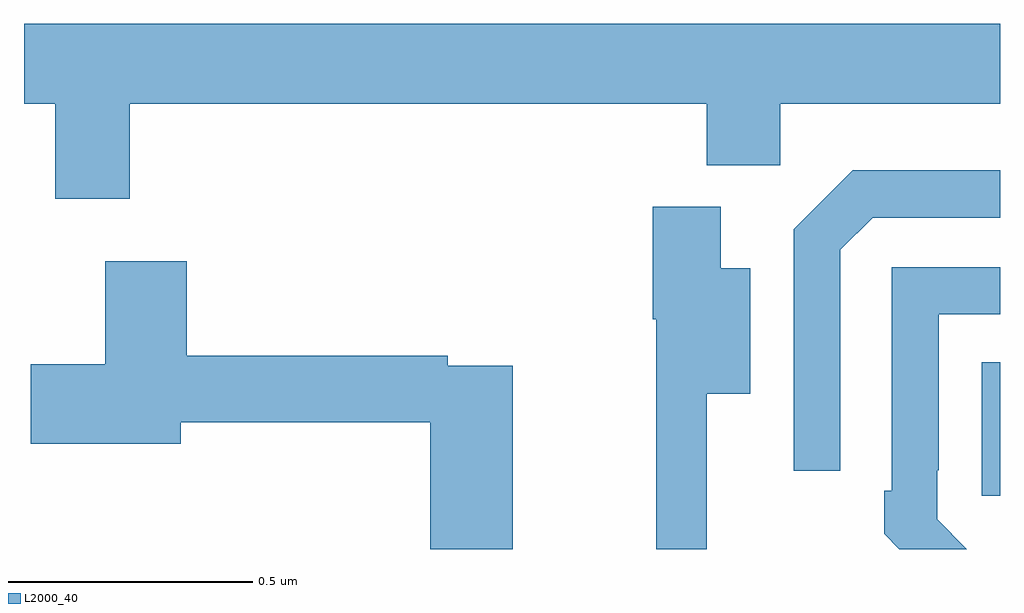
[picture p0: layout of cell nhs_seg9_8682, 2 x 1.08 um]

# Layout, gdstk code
import gdstk
lib = gdstk.Library(unit=1e-6, precision=1e-09)
def R(c, l, rs):  # rectangles x0, y0, x1, y1
    for r in rs: c.add(gdstk.rectangle(r[:2], r[2:], *l))
def P(c, l, *ps):  # polygons
    for p in ps: c.add(gdstk.Polygon(p, *l))
L2000_40 = (2000, 40)

nhs_seg9_8682 = lib.new_cell('nhs_seg9_8682')
R(nhs_seg9_8682, L2000_40, [(221.963,1203.609,222,1203.883)])
P(nhs_seg9_8682, L2000_40, [(220.217,1204.412),(221.399,1204.412),(221.399,1204.286),(221.55,1204.286),(221.55,1204.412),(222,1204.412),(222,1204.576),(220,1204.576),(220,1204.412),(220.064,1204.412),(220.064,1204.218),(220.217,1204.218)],
  [(221.673,1204.113),(221.739,1204.179),(222,1204.179),(222,1204.276),(221.698,1204.276),(221.577,1204.155),(221.577,1203.66),(221.673,1203.66)],
  [(221.399,1203.818),(221.488,1203.818),(221.488,1204.075),(221.428,1204.075),(221.428,1204.201),(221.288,1204.201),(221.288,1203.971),(221.296,1203.971),(221.296,1203.5),(221.399,1203.5)],
  [(221.002,1203.876),(220.868,1203.876),(220.868,1203.896),(220.334,1203.896),(220.334,1204.09),(220.166,1204.09),(220.166,1203.879),(220.014,1203.879),(220.014,1203.716),(220.321,1203.716),(220.321,1203.76),(220.832,1203.76),(220.832,1203.5),(221.002,1203.5)],
  [(221.871,1203.561),(221.871,1203.661),(221.874,1203.661),(221.874,1203.981),(222,1203.981),(222,1204.077),(221.778,1204.077),(221.778,1203.619),(221.763,1203.619),(221.763,1203.531),(221.794,1203.5),(221.932,1203.5)])

lib.write_gds('nhs_seg9_8682.gds')
